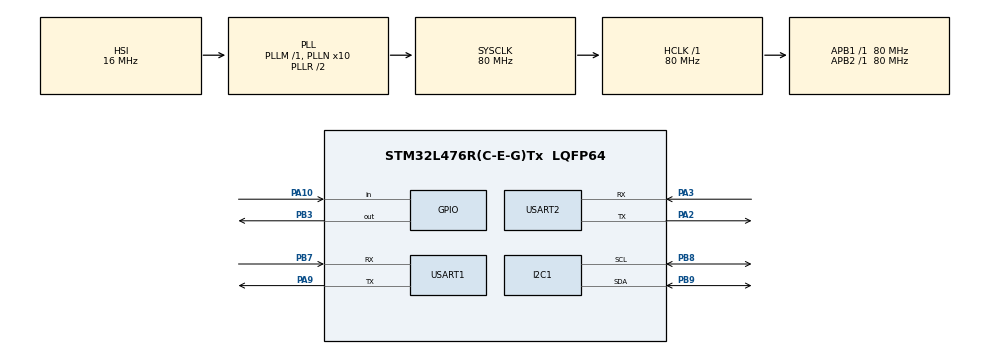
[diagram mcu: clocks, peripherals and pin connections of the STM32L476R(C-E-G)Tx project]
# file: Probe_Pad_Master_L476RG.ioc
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FREERTOS.Tasks01=IMUTask,0,256,StartIMUTask,Default,NULL,Dynamic,NULL,NULL;LoadCellTask,1,256,StartLoadCellTask,Default,NULL,Dynamic,NULL,NULL;SendingTask,-2,128,StartSendingTask,Default,NULL,Dynamic,NULL,NULL
I2C1.Timing=0x10D19CE4
Mcu.Family=STM32L4
Mcu.Name=STM32L476R(C-E-G)Tx
Mcu.Package=LQFP64
NVIC.PriorityGroup=NVIC_PRIORITYGROUP_4
PA10.Signal=GPIO_Input
PA13\ (JTMS-SWDIO).Mode=Serial_Wire
PA13\ (JTMS-SWDIO).Signal=SYS_JTMS-SWDIO
PA14\ (JTCK-SWCLK).Mode=Serial_Wire
PA14\ (JTCK-SWCLK).Signal=SYS_JTCK-SWCLK
PA2.Mode=Asynchronous
PA2.Signal=USART2_TX
PA3.Mode=Asynchronous
PA3.Signal=USART2_RX
PA9.Mode=Asynchronous
PA9.Signal=USART1_TX
PB3\ (JTDO-TRACESWO).Signal=GPIO_Output
PB7.Mode=Asynchronous
PB7.Signal=USART1_RX
PB8.Mode=I2C
PB8.Signal=I2C1_SCL
PB9.Mode=I2C
PB9.Signal=I2C1_SDA
PH0-OSC_IN\ (PH0).Mode=HSE-External-Oscillator
PH0-OSC_IN\ (PH0).Signal=RCC_OSC_IN
PH1-OSC_OUT\ (PH1).Mode=HSE-External-Oscillator
PH1-OSC_OUT\ (PH1).Signal=RCC_OSC_OUT
ProjectManager.HeapSize=0x200
ProjectManager.StackSize=0x400
ProjectManager.TargetToolchain=STM32CubeIDE
RCC.ADCFreq_Value=64000000
RCC.AHBFreq_Value=80000000
RCC.APB1Freq_Value=80000000
RCC.APB1TimFreq_Value=80000000
RCC.APB2Freq_Value=80000000
RCC.APB2TimFreq_Value=80000000
RCC.CortexFreq_Value=80000000
RCC.HCLKFreq_Value=80000000
RCC.HSE_VALUE=8000000
RCC.HSI_VALUE=16000000
RCC.LSE_VALUE=32768
RCC.MSI_VALUE=4000000
RCC.PLLN=10
RCC.PLLSourceVirtual=RCC_PLLSOURCE_HSI
RCC.PREFETCH_ENABLE=1
RCC.SYSCLKFreq_VALUE=80000000
RCC.SYSCLKSource=RCC_SYSCLKSOURCE_PLLCLK
RCC.USBFreq_Value=64000000
RCC.VCOOutputFreq_Value=160000000
TIM1.Period=65535
TIM1.Prescaler=80-1
USART1.VirtualMode-Asynchronous=VM_ASYNC
USART2.VirtualMode-Asynchronous=VM_ASYNC
VP_FREERTOS_VS_CMSIS_V1.Mode=CMSIS_V1
VP_TIM1_VS_ClockSourceINT.Mode=Internal
board=NUCLEO-L476RG

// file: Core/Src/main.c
/* USER CODE BEGIN Header */
/**
  ******************************************************************************
  * @file           : main.c
  * @brief          : Main program body
  ******************************************************************************
  * @attention
  *
  * Copyright (c) 2024 STMicroelectronics.
  * All rights reserved.
  *
  * This software is licensed under terms that can be found in the LICENSE file
  * in the root directory of this software component.
  * If no LICENSE file comes with this software, it is provided AS-IS.
  *
  ******************************************************************************
  */
/* USER CODE END Header */
#include "main.h"
#include "cmsis_os.h"

/* USER CODE BEGIN Includes */

/*
 * UART1 - Master
 * PA9 -> USART1_Tx
 * PB7 -> USART1_Rx
 *
 * PB3  -> GPIO_OUTPUT(CLK)
 * PA10 -> GPIO_INPUT(Data)
 *
 * PA2 -> USART2_Tx
 * PA3 -> USART2_Rx
 *
 * PB9 -> I2C1_SDA
 * PB8 -> I2C1_SCL
 */

#include <stdio.h>
#include <string.h>
#include <stdbool.h>

#include<bno055.h>
#include<loadcell.h>
/* USER CODE END Includes */

/* USER CODE BEGIN PTD */

uint8_t imuModbusFrame[12];				// MODBUS Frame // Frame: 1-byte address + 1-byte function + 2-byte start address + 2-byte quantity + 1-byte byte count + data + 2-byte CRC
int16_t imuQuatValues[4]; 				// Buffer to store Quat values // One 16-bit register for each scaled quaternion value

int16_t loadCellValue;					// store loadcell value
int16_t loadCellModbusRegister = 0;		// variable to store loadcell values for SendLoadCellOnModbus()

char uartBuffer[50];       				// Buffer to hold the string

/* USER CODE END PTD */

I2C_HandleTypeDef hi2c1;

TIM_HandleTypeDef htim1;

UART_HandleTypeDef huart1;
UART_HandleTypeDef huart2;

osThreadId IMUTaskHandle;
osThreadId LoadCellTaskHandle;
osThreadId SendingTaskHandle;
/* USER CODE BEGIN PV */

// Prepare the data for UART transmission

/* USER CODE END PV */

void SystemClock_Config(void);
static void MX_GPIO_Init(void);
static void MX_I2C1_Init(void);
static void MX_TIM1_Init(void);
static void MX_USART2_UART_Init(void);
static void MX_USART1_UART_Init(void);
void StartIMUTask(void const * argument);
void StartLoadCellTask(void const * argument);
void StartSendingTask(void const * argument);

/* USER CODE BEGIN 0 */

int _write(int file, char *ptr, int len)
{
    int i = 0;
    for (i = 0; i < len; i++)
        ITM_SendChar((*ptr++));

    return len;
}

// Function to calculate Modbus CRC
uint16_t calculateCRC(uint8_t *data, uint16_t length)
{
    uint16_t crc = 0xFFFF; // Initial CRC value

    for (uint16_t i = 0; i < length; i++)
    {
        crc ^= data[i]; // XOR byte into the least significant byte of CRC

        for (uint8_t j = 0; j < 8; j++)
        {
            if (crc & 0x0001) // If the LSB is set
            {
                crc >>= 1;       // Shift right
                crc ^= 0xA001;   // Apply the polynomial
            }
            else
            {
                crc >>= 1; // Just shift right
            }
        }
    }

    return crc; // Return the CRC value
}

void QuaternionToModbus(float w, float x, float y, float z)
{
    // Scale the float values to fit into the range of int16_t and store them
    imuQuatValues[0] = (int16_t)(w * 30000); // w component
    imuQuatValues[1] = (int16_t)(x * 30000); // x component
    imuQuatValues[2] = (int16_t)(y * 30000); // y component
    imuQuatValues[3] = (int16_t)(z * 30000); // z component
}

void SendImuDataOnModbus()
{
    uint8_t startByte = 0xAA;       	// Start byte for the frame
    uint8_t typeIdentifier = 0x01; 		// Identifier for Quaternion Data
    uint16_t crc;

    // Define frame buffer
    uint8_t imuModbusFrame[13]; // Start Byte (1) + Type ID (1) + Data (8) + CRC (2) + End (1)

    // Construct the custom frame
    imuModbusFrame[0] = startByte;         // Start Byte
    imuModbusFrame[1] = typeIdentifier;    // Type Identifier

    // Add quaternion data to the frame
    for (int i = 0; i < 4; i++) {
        imuModbusFrame[2 + (i * 2)] = (imuQuatValues[i] >> 8) & 0xFF; // High byte
        imuModbusFrame[3 + (i * 2)] = imuQuatValues[i] & 0xFF;        // Low byte
    }

    // Calculate CRC for the first 10 bytes (Start Byte + Type ID + Quaternion Data)
    crc = calculateCRC(imuModbusFrame, 10);
    imuModbusFrame[10] = crc & 0xFF;        // CRC Low Byte
    imuModbusFrame[11] = (crc >> 8) & 0xFF; // CRC High Byte

    // Add End Byte
    imuModbusFrame[12] = 0x55; // End of frame

    // Send the frame via UART
    if (HAL_UART_Transmit(&huart1, imuModbusFrame, 13, HAL_MAX_DELAY) != HAL_OK)
    {
        // Handle transmission error

    }
}

/* 	************************************************************************************************************ */

void LoadCellDataToModbus()
{
    // Convert the load cell data to int16_t

	loadCellValue = weigh();
	loadCellModbusRegister = loadCellValue;
	sprintf(uartBuffer,  "Load Cell Value: %d\r\n", loadCellValue);

	HAL_UART_Transmit(&huart2, (uint8_t *)uartBuffer, strlen(uartBuffer), HAL_MAX_DELAY);

}

void SendLoadCellDataOnModbus()
{
    uint8_t startByte = 0xAA;       		// Start byte for the frame
    uint8_t typeIdentifier = 0x02;  		// Identifier for loadcell Data
    uint16_t crc;

    // Define frame buffer
    uint8_t loadCellModbusFrame[7]; 		// Start Byte (1) + Type ID (1) + Data (2) + CRC (2) + End (1)

    // Construct the custom frame
    loadCellModbusFrame[0] = startByte;        // Start Byte
    loadCellModbusFrame[1] = typeIdentifier;   // Type Identifier

    // Add load cell data (2 bytes)
    loadCellModbusFrame[2] = (loadCellModbusRegister >> 8) & 0xFF; 		// High byte
    loadCellModbusFrame[3] = loadCellModbusRegister & 0xFF;        		// Low byte

    // Calculate CRC for the first 4 bytes (Start Byte + Type ID + Load Cell Data)
    crc = calculateCRC(loadCellModbusFrame, 4);
    loadCellModbusFrame[4] = crc & 0xFF;        // CRC Low Byte
    loadCellModbusFrame[5] = (crc >> 8) & 0xFF; // CRC High Byte

    // Add End Byte
    loadCellModbusFrame[6] = 0x55; // End of frame

    // Send the frame via UART
    if (HAL_UART_Transmit(&huart1, loadCellModbusFrame, 7, HAL_MAX_DELAY) != HAL_OK) {
        // Handle transmission error

    }
}

/* USER CODE END 0 */

int main(void)
{

  /* MCU Configuration--------------------------------------------------------*/

  /* Reset of all peripherals, Initializes the Flash interface and the Systick. */
  HAL_Init();

  /* Configure the system clock */
  SystemClock_Config();

  /* Initialize all configured peripherals */
  MX_GPIO_Init();
  MX_I2C1_Init();
  MX_TIM1_Init();
  MX_USART2_UART_Init();
  MX_USART1_UART_Init();
  /* USER CODE BEGIN 2 */

    // Load Cell
	HAL_TIM_Base_Start(&htim1);
	setTare();

    // BNO055
	char init_imu_uart_buffer[100];

    // Initialize BNO055
	if (BNO055_Init() != HAL_OK)
	{
	  snprintf(init_imu_uart_buffer, sizeof(init_imu_uart_buffer),"BNO055 initialization failed\n");
	  HAL_UART_Transmit(&huart2, (uint8_t *)init_imu_uart_buffer, strlen(init_imu_uart_buffer), HAL_MAX_DELAY);
	  //return -1;
	}
	snprintf(init_imu_uart_buffer, sizeof(init_imu_uart_buffer),"BNO055 initialized successfully\n");
	HAL_UART_Transmit(&huart2, (uint8_t *)init_imu_uart_buffer, strlen(init_imu_uart_buffer), HAL_MAX_DELAY);

  /* USER CODE END 2 */

  /* Create the thread(s) */
  /* definition and creation of IMUTask */
  osThreadDef(IMUTask, StartIMUTask, osPriorityNormal, 0, 256);
  IMUTaskHandle = osThreadCreate(osThread(IMUTask), NULL);

  /* definition and creation of LoadCellTask */
  osThreadDef(LoadCellTask, StartLoadCellTask, osPriorityAboveNormal, 0, 256);
  LoadCellTaskHandle = osThreadCreate(osThread(LoadCellTask), NULL);

  /* definition and creation of SendingTask */
  osThreadDef(SendingTask, StartSendingTask, osPriorityLow, 0, 128);
  SendingTaskHandle = osThreadCreate(osThread(SendingTask), NULL);

  /* Start scheduler */
  osKernelStart();

  /* We should never get here as control is now taken by the scheduler */

  /* Infinite loop */
  while (1)
  {

  }
}

void SystemClock_Config(void)
{
  RCC_OscInitTypeDef RCC_OscInitStruct = {0};
  RCC_ClkInitTypeDef RCC_ClkInitStruct = {0};

  /** Configure the main internal regulator output voltage
  */
  if (HAL_PWREx_ControlVoltageScaling(PWR_REGULATOR_VOLTAGE_SCALE1) != HAL_OK)
  {
    Error_Handler();
  }

  /** Initializes the RCC Oscillators according to the specified parameters
  * in the RCC_OscInitTypeDef structure.
  */
  RCC_OscInitStruct.OscillatorType = RCC_OSCILLATORTYPE_HSI;
  RCC_OscInitStruct.HSIState = RCC_HSI_ON;
  RCC_OscInitStruct.HSICalibrationValue = RCC_HSICALIBRATION_DEFAULT;
  RCC_OscInitStruct.PLL.PLLState = RCC_PLL_ON;
  RCC_OscInitStruct.PLL.PLLSource = RCC_PLLSOURCE_HSI;
  RCC_OscInitStruct.PLL.PLLM = 1;
  RCC_OscInitStruct.PLL.PLLN = 10;
  RCC_OscInitStruct.PLL.PLLP = RCC_PLLP_DIV7;
  RCC_OscInitStruct.PLL.PLLQ = RCC_PLLQ_DIV2;
  RCC_OscInitStruct.PLL.PLLR = RCC_PLLR_DIV2;
  if (HAL_RCC_OscConfig(&RCC_OscInitStruct) != HAL_OK)
  {
    Error_Handler();
  }

  /** Initializes the CPU, AHB and APB buses clocks
  */
  RCC_ClkInitStruct.ClockType = RCC_CLOCKTYPE_HCLK|RCC_CLOCKTYPE_SYSCLK
                              |RCC_CLOCKTYPE_PCLK1|RCC_CLOCKTYPE_PCLK2;
  RCC_ClkInitStruct.SYSCLKSource = RCC_SYSCLKSOURCE_PLLCLK;
  RCC_ClkInitStruct.AHBCLKDivider = RCC_SYSCLK_DIV1;
  RCC_ClkInitStruct.APB1CLKDivider = RCC_HCLK_DIV1;
  RCC_ClkInitStruct.APB2CLKDivider = RCC_HCLK_DIV1;

  if (HAL_RCC_ClockConfig(&RCC_ClkInitStruct, FLASH_LATENCY_4) != HAL_OK)
  {
    Error_Handler();
  }
}

static void MX_I2C1_Init(void)
{

  hi2c1.Instance = I2C1;
  hi2c1.Init.Timing = 0x10D19CE4;
  hi2c1.Init.OwnAddress1 = 0;
  hi2c1.Init.AddressingMode = I2C_ADDRESSINGMODE_7BIT;
  hi2c1.Init.DualAddressMode = I2C_DUALADDRESS_DISABLE;
  hi2c1.Init.OwnAddress2 = 0;
  hi2c1.Init.OwnAddress2Masks = I2C_OA2_NOMASK;
  hi2c1.Init.GeneralCallMode = I2C_GENERALCALL_DISABLE;
  hi2c1.Init.NoStretchMode = I2C_NOSTRETCH_DISABLE;
  if (HAL_I2C_Init(&hi2c1) != HAL_OK)
  {
    Error_Handler();
  }

  /** Configure Analogue filter
  */
  if (HAL_I2CEx_ConfigAnalogFilter(&hi2c1, I2C_ANALOGFILTER_ENABLE) != HAL_OK)
  {
    Error_Handler();
  }

  /** Configure Digital filter
  */
  if (HAL_I2CEx_ConfigDigitalFilter(&hi2c1, 0) != HAL_OK)
  {
    Error_Handler();
  }

}

static void MX_TIM1_Init(void)
{

  TIM_ClockConfigTypeDef sClockSourceConfig = {0};
  TIM_MasterConfigTypeDef sMasterConfig = {0};

  htim1.Instance = TIM1;
  htim1.Init.Prescaler = 80-1;
  htim1.Init.CounterMode = TIM_COUNTERMODE_UP;
  htim1.Init.Period = 65535;
  htim1.Init.ClockDivision = TIM_CLOCKDIVISION_DIV1;
  htim1.Init.RepetitionCounter = 0;
  htim1.Init.AutoReloadPreload = TIM_AUTORELOAD_PRELOAD_DISABLE;
  if (HAL_TIM_Base_Init(&htim1) != HAL_OK)
  {
    Error_Handler();
  }
  sClockSourceConfig.ClockSource = TIM_CLOCKSOURCE_INTERNAL;
  if (HAL_TIM_ConfigClockSource(&htim1, &sClockSourceConfig) != HAL_OK)
  {
    Error_Handler();
  }
  sMasterConfig.MasterOutputTrigger = TIM_TRGO_RESET;
  sMasterConfig.MasterOutputTrigger2 = TIM_TRGO2_RESET;
  sMasterConfig.MasterSlaveMode = TIM_MASTERSLAVEMODE_DISABLE;
  if (HAL_TIMEx_MasterConfigSynchronization(&htim1, &sMasterConfig) != HAL_OK)
  {
    Error_Handler();
  }

}

static void MX_USART1_UART_Init(void)
{

  huart1.Instance = USART1;
  huart1.Init.BaudRate = 115200;
  huart1.Init.WordLength = UART_WORDLENGTH_8B;
  huart1.Init.StopBits = UART_STOPBITS_1;
  huart1.Init.Parity = UART_PARITY_NONE;
  huart1.Init.Mode = UART_MODE_TX_RX;
  huart1.Init.HwFlowCtl = UART_HWCONTROL_NONE;
  huart1.Init.OverSampling = UART_OVERSAMPLING_16;
  huart1.Init.OneBitSampling = UART_ONE_BIT_SAMPLE_DISABLE;
  huart1.AdvancedInit.AdvFeatureInit = UART_ADVFEATURE_NO_INIT;
  if (HAL_UART_Init(&huart1) != HAL_OK)
  {
    Error_Handler();
  }

}

static void MX_USART2_UART_Init(void)
{

  huart2.Instance = USART2;
  huart2.Init.BaudRate = 115200;
  huart2.Init.WordLength = UART_WORDLENGTH_8B;
  huart2.Init.StopBits = UART_STOPBITS_1;
  huart2.Init.Parity = UART_PARITY_NONE;
  huart2.Init.Mode = UART_MODE_TX_RX;
  huart2.Init.HwFlowCtl = UART_HWCONTROL_NONE;
  huart2.Init.OverSampling = UART_OVERSAMPLING_16;
  huart2.Init.OneBitSampling = UART_ONE_BIT_SAMPLE_DISABLE;
  huart2.AdvancedInit.AdvFeatureInit = UART_ADVFEATURE_NO_INIT;
  if (HAL_UART_Init(&huart2) != HAL_OK)
  {
    Error_Handler();
  }

}

static void MX_GPIO_Init(void)
{
  GPIO_InitTypeDef GPIO_InitStruct = {0};

  /* GPIO Ports Clock Enable */
  __HAL_RCC_GPIOH_CLK_ENABLE();
  __HAL_RCC_GPIOA_CLK_ENABLE();
  __HAL_RCC_GPIOB_CLK_ENABLE();

  /*Configure GPIO pin Output Level */
  HAL_GPIO_WritePin(GPIOB, GPIO_PIN_3, GPIO_PIN_RESET);

  /*Configure GPIO pin : PA10 */
  GPIO_InitStruct.Pin = GPIO_PIN_10;
  GPIO_InitStruct.Mode = GPIO_MODE_INPUT;
  GPIO_InitStruct.Pull = GPIO_NOPULL;
  HAL_GPIO_Init(GPIOA, &GPIO_InitStruct);

  /*Configure GPIO pin : PB3 */
  GPIO_InitStruct.Pin = GPIO_PIN_3;
  GPIO_InitStruct.Mode = GPIO_MODE_OUTPUT_PP;
  GPIO_InitStruct.Pull = GPIO_NOPULL;
  GPIO_InitStruct.Speed = GPIO_SPEED_FREQ_LOW;
  HAL_GPIO_Init(GPIOB, &GPIO_InitStruct);

}

void StartIMUTask(void const * argument)
{
  /* USER CODE BEGIN 5 */
	Quaternion quat;
	char uart_buffer[100];
  /* Infinite loop */
  for(;;)
  {
	  if (BNO055_ReadQuaternion(&quat) == HAL_OK)
	  {
		  snprintf(uart_buffer, sizeof(uart_buffer), "%.4f,%.4f,%.4f,%.4f\r\n", quat.w, quat.x, quat.y, quat.z);
		  HAL_UART_Transmit(&huart2, (uint8_t*)uart_buffer, strlen(uart_buffer), HAL_MAX_DELAY);
		  QuaternionToModbus(quat.w, quat.x, quat.y, quat.z);

	  }
    osDelay(50);
  }

  /* USER CODE END 5 */
}

void StartLoadCellTask(void const * argument)
{
  /* USER CODE BEGIN StartLoadCellTask */
  /* Infinite loop */
  for(;;)
  {
	LoadCellDataToModbus();
    osDelay(50);

  }
  /* USER CODE END StartLoadCellTask */
}

void StartSendingTask(void const * argument)
{
  /* USER CODE BEGIN StartSendingTask */
  /* Infinite loop */
  for(;;)
  {
	  SendImuDataOnModbus();
	  osDelay(50);
	  SendLoadCellDataOnModbus();
	  osDelay(50);
  }
  /* USER CODE END StartSendingTask */
}

void Error_Handler(void)
{
  __disable_irq();
  while (1)
  {
  }
}
